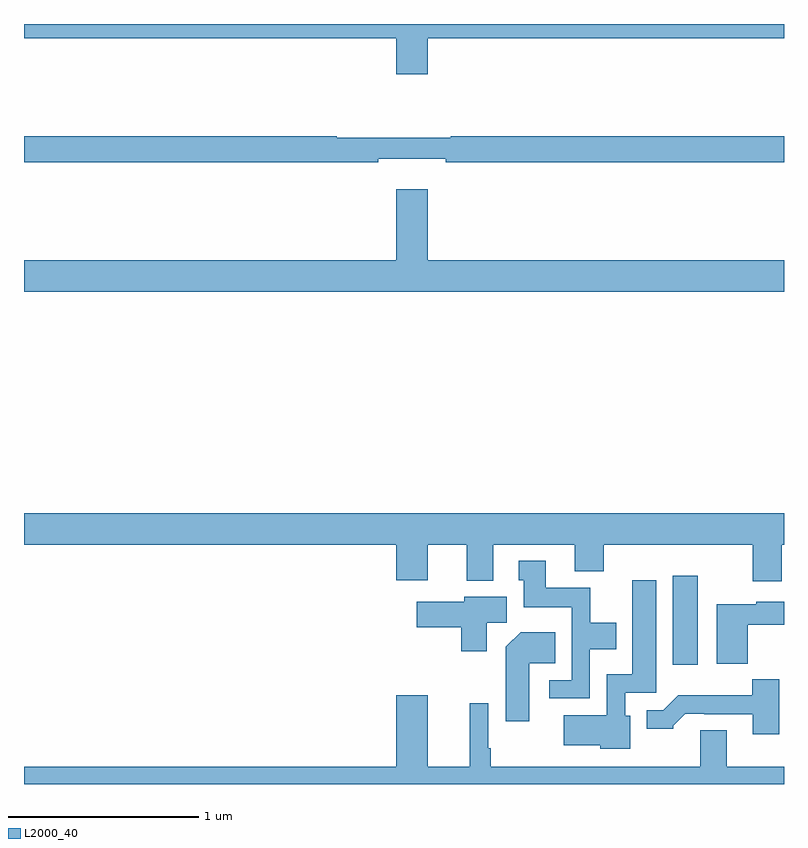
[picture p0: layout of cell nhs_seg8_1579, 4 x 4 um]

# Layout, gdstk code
import gdstk
lib = gdstk.Library(unit=1e-6, precision=1e-09)
def R(c, l, rs):  # rectangles x0, y0, x1, y1
    for r in rs: c.add(gdstk.rectangle(r[:2], r[2:], *l))
def P(c, l, *ps):  # polygons
    for p in ps: c.add(gdstk.Polygon(p, *l))
L2000_40 = (2000, 40)

nhs_seg8_1579 = lib.new_cell('nhs_seg8_1579')
R(nhs_seg8_1579, L2000_40, [(214.415,1122.528,214.546,1122.997)])
P(nhs_seg8_1579, L2000_40, [(213.124,1125.824),(215,1125.824),(215,1125.9),(211,1125.9),(211,1125.824),(212.96,1125.824),(212.96,1125.636),(213.124,1125.636)],
  [(212.864,1125.191),(213.22,1125.191),(213.22,1125.172),(215,1125.172),(215,1125.308),(213.247,1125.308),(213.247,1125.301),(212.647,1125.301),(212.647,1125.308),(211,1125.308),(211,1125.172),(212.864,1125.172)],
  [(215,1124.656),(213.124,1124.656),(213.124,1125.031),(212.96,1125.031),(212.96,1124.656),(211,1124.656),(211,1124.492),(215,1124.492)],
  [(214.988,1123.16),(215,1123.16),(215,1123.324),(211,1123.324),(211,1123.16),(212.96,1123.16),(212.96,1122.972),(213.124,1122.972),(213.124,1123.16),(213.329,1123.16),(213.329,1122.971),(213.469,1122.971),(213.469,1123.16),(213.899,1123.16),(213.899,1123.019),(214.052,1123.019),(214.052,1123.16),(214.835,1123.16),(214.835,1122.966),(214.988,1122.966)],
  [(213.978,1122.608),(214.117,1122.608),(214.117,1122.748),(213.981,1122.748),(213.981,1122.934),(213.745,1122.934),(213.745,1123.075),(213.605,1123.075),(213.605,1122.972),(213.629,1122.972),(213.629,1122.83),(213.882,1122.83),(213.882,1122.447),(213.765,1122.447),(213.765,1122.351),(213.978,1122.351)],
  [(214.192,1122.258),(214.164,1122.258),(214.164,1122.381),(214.327,1122.381),(214.327,1122.973),(214.202,1122.973),(214.202,1122.478),(214.068,1122.478),(214.068,1122.262),(213.84,1122.262),(213.84,1122.104),(214.032,1122.104),(214.032,1122.086),(214.192,1122.086)],
  [(213.436,1122.748),(213.541,1122.748),(213.541,1122.886),(213.318,1122.886),(213.318,1122.859),(213.066,1122.859),(213.066,1122.725),(213.302,1122.725),(213.302,1122.6),(213.436,1122.6)],
  [(214.808,1122.737),(215,1122.737),(215,1122.859),(214.854,1122.859),(214.854,1122.847),(214.646,1122.847),(214.646,1122.533),(214.808,1122.533)],
  [(213.658,1122.536),(213.797,1122.536),(213.797,1122.7),(213.614,1122.7),(213.536,1122.622),(213.536,1122.231),(213.658,1122.231)],
  [(214.975,1122.451),(214.833,1122.451),(214.833,1122.367),(214.444,1122.367),(214.365,1122.288),(214.277,1122.288),(214.277,1122.191),(214.416,1122.191),(214.416,1122.206),(214.48,1122.27),(214.579,1122.27),(214.579,1122.267),(214.835,1122.267),(214.835,1122.162),(214.975,1122.162)],
  [(215,1121.992),(214.699,1121.992),(214.699,1122.182),(214.559,1122.182),(214.559,1121.992),(213.457,1121.992),(213.457,1122.088),(213.444,1122.088),(213.444,1122.325),(213.346,1122.325),(213.346,1121.992),(213.124,1121.992),(213.124,1122.367),(212.96,1122.367),(212.96,1121.992),(211,1121.992),(211,1121.9),(215,1121.9)])

lib.write_gds('nhs_seg8_1579.gds')
